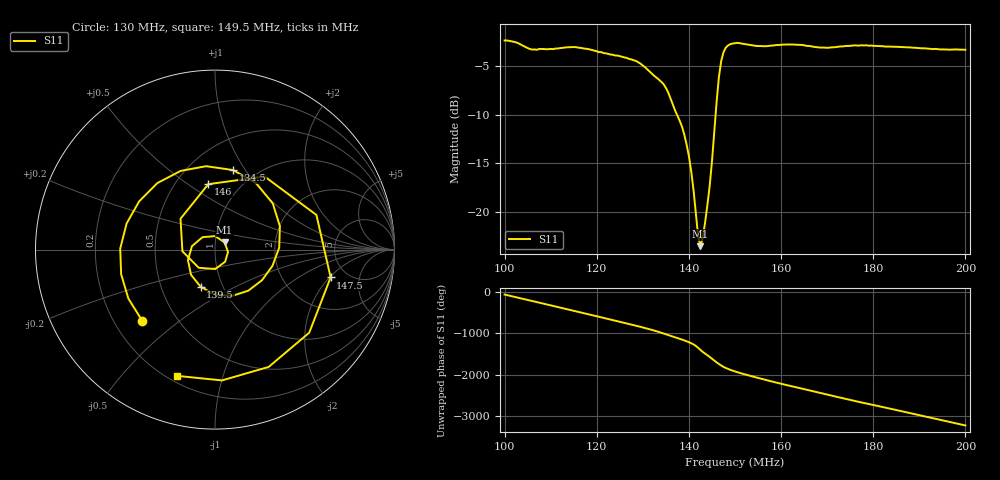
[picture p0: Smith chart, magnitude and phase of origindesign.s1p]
#  HZ  S  RI  R  50.00
! Rohde & Schwarz ZVA40 2Ports - Version 3.12 - 1145.1110k40 SN: 100360
! Date: 2019-07-29 15:54:23
! Measurement: S11
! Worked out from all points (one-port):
!   201 points, 100 MHz to 200 MHz, reference 50 ohm
!   lowest |S11| = -23.5 dB at 142.5 MHz (marker M1), VSWR 1.14, Z = 55.5 + j4.44 ohm
!   |S11| at or under -10 dB: 137.4 MHz to 145.8 MHz (8.383 MHz wide, 5.92 % of centre)
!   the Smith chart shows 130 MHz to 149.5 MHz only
!   S11 on the Smith chart (normalised r, x): 130 MHz: 0.32, -0.37; 134.5 MHz: 0.79, +0.88; 139.5 MHz: 0.79, -0.34; 146 MHz: 0.72, +0.60; 147.5 MHz: 3.72, -2.06; 149.5 MHz: 0.23, -0.71
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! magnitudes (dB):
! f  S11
! 100 MHz  -2.4
! 106 MHz  -3.3
! 112.5 MHz  -3.1
! 115.5 MHz  -3.0
! 125 MHz  -4.0
! 130 MHz  -4.9
! 134.5 MHz  -6.9
! 137.5 MHz  -10.1
! 138.5 MHz  -11.2
! 139.5 MHz  -13.1
! 140.5 MHz  -15.8
! 141 MHz  -17.7
! 142 MHz  -22.5
! 142.5 MHz  -23.5
! 143 MHz  -22.6
! 143.5 MHz  -21.1
! 144.5 MHz  -17.3
! 145 MHz  -14.8
! 146 MHz  -8.7
! 146.5 MHz  -6.2
! 147 MHz  -4.5
! 147.5 MHz  -3.6
! 149.5 MHz  -2.7
! 150 MHz  -2.6
! 162.5 MHz  -2.8
! 175 MHz  -2.9
! 187.5 MHz  -3.1
! 200 MHz  -3.3
